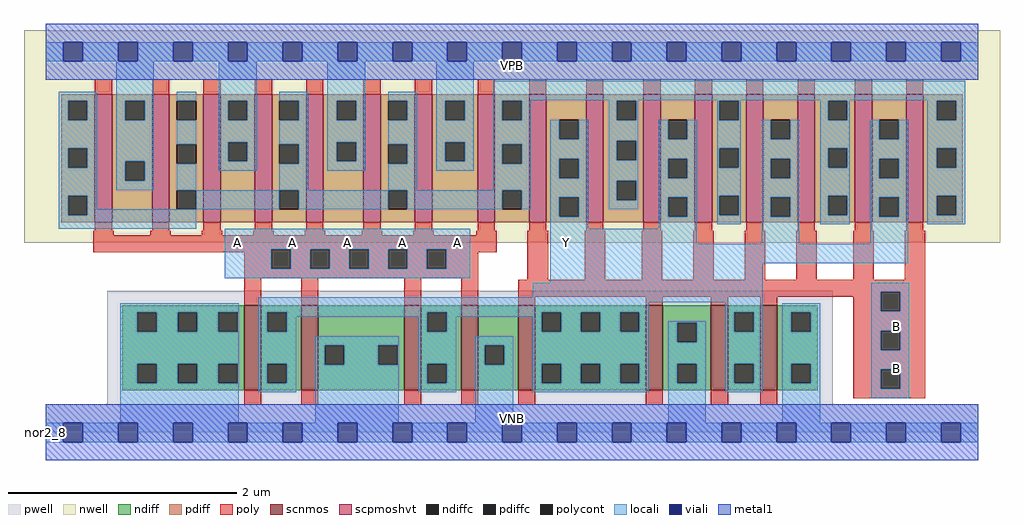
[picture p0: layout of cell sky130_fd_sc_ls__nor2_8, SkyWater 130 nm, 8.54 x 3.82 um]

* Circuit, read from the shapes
.subckt sky130_fd_sc_ls__nor2_8 A B VGND VNB VPB VPWR Y
XM1 Y A VGND VNB sky130_fd_pr__nfet_01v8 w=0.74 l=0.15 m=4
XM2 Y B VGND VNB sky130_fd_pr__nfet_01v8 w=0.74 l=0.15 m=4
XM3 VPWR A n1 VPB sky130_fd_pr__pfet_01v8_hvt w=1.12 l=0.15 m=8
XM4 Y B n1 VPB sky130_fd_pr__pfet_01v8_hvt w=1.12 l=0.15 m=8
.ends

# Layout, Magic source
magic
tech sky130A
magscale 1 2
<< nwell >>
rect -38 332 1670 704
<< pwell >>
rect 108 49 1377 248
rect 0 0 1632 49
<< scnmos >>
rect 347 74 377 222
rect 447 74 477 222
rect 627 74 657 222
rect 727 74 757 222
rect 827 74 857 222
rect 1050 74 1080 222
rect 1164 74 1194 222
rect 1250 74 1280 222
<< scpmoshvt >>
rect 86 368 116 592
rect 186 368 216 592
rect 276 368 306 592
rect 366 368 396 592
rect 456 368 486 592
rect 556 368 586 592
rect 646 368 676 592
rect 756 368 786 592
rect 846 368 876 592
rect 946 368 976 592
rect 1046 368 1076 592
rect 1136 368 1166 592
rect 1226 368 1256 592
rect 1316 368 1346 592
rect 1416 368 1446 592
rect 1506 368 1536 592
<< ndiff >>
rect 134 210 347 222
rect 134 176 160 210
rect 194 176 231 210
rect 265 176 302 210
rect 336 176 347 210
rect 134 120 347 176
rect 134 86 160 120
rect 194 86 231 120
rect 265 86 302 120
rect 336 86 347 120
rect 134 74 347 86
rect 377 210 447 222
rect 377 176 388 210
rect 422 176 447 210
rect 377 120 447 176
rect 377 86 388 120
rect 422 86 447 120
rect 377 74 447 86
rect 477 152 627 222
rect 477 118 488 152
rect 522 118 582 152
rect 616 118 627 152
rect 477 74 627 118
rect 657 210 727 222
rect 657 176 668 210
rect 702 176 727 210
rect 657 120 727 176
rect 657 86 668 120
rect 702 86 727 120
rect 657 74 727 86
rect 757 152 827 222
rect 757 118 768 152
rect 802 118 827 152
rect 757 74 827 118
rect 857 210 1050 222
rect 857 176 868 210
rect 902 176 936 210
rect 970 176 1005 210
rect 1039 176 1050 210
rect 857 120 1050 176
rect 857 86 868 120
rect 902 86 936 120
rect 970 86 1005 120
rect 1039 86 1050 120
rect 857 74 1050 86
rect 1080 192 1164 222
rect 1080 158 1105 192
rect 1139 158 1164 192
rect 1080 120 1164 158
rect 1080 86 1105 120
rect 1139 86 1164 120
rect 1080 74 1164 86
rect 1194 210 1250 222
rect 1194 176 1205 210
rect 1239 176 1250 210
rect 1194 120 1250 176
rect 1194 86 1205 120
rect 1239 86 1250 120
rect 1194 74 1250 86
rect 1280 210 1351 222
rect 1280 176 1305 210
rect 1339 176 1351 210
rect 1280 120 1351 176
rect 1280 86 1305 120
rect 1339 86 1351 120
rect 1280 74 1351 86
<< pdiff >>
rect 27 580 86 592
rect 27 546 39 580
rect 73 546 86 580
rect 27 497 86 546
rect 27 463 39 497
rect 73 463 86 497
rect 27 414 86 463
rect 27 380 39 414
rect 73 380 86 414
rect 27 368 86 380
rect 116 580 186 592
rect 116 546 139 580
rect 173 546 186 580
rect 116 474 186 546
rect 116 440 139 474
rect 173 440 186 474
rect 116 368 186 440
rect 216 580 276 592
rect 216 546 229 580
rect 263 546 276 580
rect 216 504 276 546
rect 216 470 229 504
rect 263 470 276 504
rect 216 424 276 470
rect 216 390 229 424
rect 263 390 276 424
rect 216 368 276 390
rect 306 580 366 592
rect 306 546 319 580
rect 353 546 366 580
rect 306 508 366 546
rect 306 474 319 508
rect 353 474 366 508
rect 306 368 366 474
rect 396 580 456 592
rect 396 546 409 580
rect 443 546 456 580
rect 396 504 456 546
rect 396 470 409 504
rect 443 470 456 504
rect 396 424 456 470
rect 396 390 409 424
rect 443 390 456 424
rect 396 368 456 390
rect 486 580 556 592
rect 486 546 509 580
rect 543 546 556 580
rect 486 508 556 546
rect 486 474 509 508
rect 543 474 556 508
rect 486 368 556 474
rect 586 580 646 592
rect 586 546 599 580
rect 633 546 646 580
rect 586 504 646 546
rect 586 470 599 504
rect 633 470 646 504
rect 586 424 646 470
rect 586 390 599 424
rect 633 390 646 424
rect 586 368 646 390
rect 676 580 756 592
rect 676 546 699 580
rect 733 546 756 580
rect 676 508 756 546
rect 676 474 699 508
rect 733 474 756 508
rect 676 368 756 474
rect 786 580 846 592
rect 786 546 799 580
rect 833 546 846 580
rect 786 504 846 546
rect 786 470 799 504
rect 833 470 846 504
rect 786 424 846 470
rect 786 390 799 424
rect 833 390 846 424
rect 786 368 846 390
rect 876 547 946 592
rect 876 513 899 547
rect 933 513 946 547
rect 876 479 946 513
rect 876 445 899 479
rect 933 445 946 479
rect 876 411 946 445
rect 876 377 899 411
rect 933 377 946 411
rect 876 368 946 377
rect 976 580 1046 592
rect 976 546 999 580
rect 1033 546 1046 580
rect 976 510 1046 546
rect 976 476 999 510
rect 1033 476 1046 510
rect 976 440 1046 476
rect 976 406 999 440
rect 1033 406 1046 440
rect 976 368 1046 406
rect 1076 547 1136 592
rect 1076 513 1089 547
rect 1123 513 1136 547
rect 1076 479 1136 513
rect 1076 445 1089 479
rect 1123 445 1136 479
rect 1076 411 1136 445
rect 1076 377 1089 411
rect 1123 377 1136 411
rect 1076 368 1136 377
rect 1166 580 1226 592
rect 1166 546 1179 580
rect 1213 546 1226 580
rect 1166 497 1226 546
rect 1166 463 1179 497
rect 1213 463 1226 497
rect 1166 414 1226 463
rect 1166 380 1179 414
rect 1213 380 1226 414
rect 1166 368 1226 380
rect 1256 547 1316 592
rect 1256 513 1269 547
rect 1303 513 1316 547
rect 1256 479 1316 513
rect 1256 445 1269 479
rect 1303 445 1316 479
rect 1256 411 1316 445
rect 1256 377 1269 411
rect 1303 377 1316 411
rect 1256 368 1316 377
rect 1346 580 1416 592
rect 1346 546 1369 580
rect 1403 546 1416 580
rect 1346 497 1416 546
rect 1346 463 1369 497
rect 1403 463 1416 497
rect 1346 414 1416 463
rect 1346 380 1369 414
rect 1403 380 1416 414
rect 1346 368 1416 380
rect 1446 547 1506 592
rect 1446 513 1459 547
rect 1493 513 1506 547
rect 1446 479 1506 513
rect 1446 445 1459 479
rect 1493 445 1506 479
rect 1446 411 1506 445
rect 1446 377 1459 411
rect 1493 377 1506 411
rect 1446 368 1506 377
rect 1536 580 1605 592
rect 1536 546 1559 580
rect 1593 546 1605 580
rect 1536 497 1605 546
rect 1536 463 1559 497
rect 1593 463 1605 497
rect 1536 414 1605 463
rect 1536 380 1559 414
rect 1593 380 1605 414
rect 1536 368 1605 380
<< ndiffc >>
rect 160 176 194 210
rect 231 176 265 210
rect 302 176 336 210
rect 160 86 194 120
rect 231 86 265 120
rect 302 86 336 120
rect 388 176 422 210
rect 388 86 422 120
rect 488 118 522 152
rect 582 118 616 152
rect 668 176 702 210
rect 668 86 702 120
rect 768 118 802 152
rect 868 176 902 210
rect 936 176 970 210
rect 1005 176 1039 210
rect 868 86 902 120
rect 936 86 970 120
rect 1005 86 1039 120
rect 1105 158 1139 192
rect 1105 86 1139 120
rect 1205 176 1239 210
rect 1205 86 1239 120
rect 1305 176 1339 210
rect 1305 86 1339 120
<< pdiffc >>
rect 39 546 73 580
rect 39 463 73 497
rect 39 380 73 414
rect 139 546 173 580
rect 139 440 173 474
rect 229 546 263 580
rect 229 470 263 504
rect 229 390 263 424
rect 319 546 353 580
rect 319 474 353 508
rect 409 546 443 580
rect 409 470 443 504
rect 409 390 443 424
rect 509 546 543 580
rect 509 474 543 508
rect 599 546 633 580
rect 599 470 633 504
rect 599 390 633 424
rect 699 546 733 580
rect 699 474 733 508
rect 799 546 833 580
rect 799 470 833 504
rect 799 390 833 424
rect 899 513 933 547
rect 899 445 933 479
rect 899 377 933 411
rect 999 546 1033 580
rect 999 476 1033 510
rect 999 406 1033 440
rect 1089 513 1123 547
rect 1089 445 1123 479
rect 1089 377 1123 411
rect 1179 546 1213 580
rect 1179 463 1213 497
rect 1179 380 1213 414
rect 1269 513 1303 547
rect 1269 445 1303 479
rect 1269 377 1303 411
rect 1369 546 1403 580
rect 1369 463 1403 497
rect 1369 380 1403 414
rect 1459 513 1493 547
rect 1459 445 1493 479
rect 1459 377 1493 411
rect 1559 546 1593 580
rect 1559 463 1593 497
rect 1559 380 1593 414
<< poly >>
rect 86 592 116 618
rect 186 592 216 618
rect 276 592 306 618
rect 366 592 396 618
rect 456 592 486 618
rect 556 592 586 618
rect 646 592 676 618
rect 756 592 786 618
rect 846 592 876 618
rect 946 592 976 618
rect 1046 592 1076 618
rect 1136 592 1166 618
rect 1226 592 1256 618
rect 1316 592 1346 618
rect 1416 592 1446 618
rect 1506 592 1536 618
rect 86 353 116 368
rect 186 353 216 368
rect 276 353 306 368
rect 366 353 396 368
rect 456 353 486 368
rect 556 353 586 368
rect 646 353 676 368
rect 756 353 786 368
rect 846 353 876 368
rect 946 353 976 368
rect 1046 353 1076 368
rect 1136 353 1166 368
rect 1226 353 1256 368
rect 1316 353 1346 368
rect 1416 353 1446 368
rect 1506 353 1536 368
rect 83 345 119 353
rect 183 345 219 353
rect 273 345 309 353
rect 363 345 399 353
rect 453 345 489 353
rect 553 345 589 353
rect 643 345 679 353
rect 753 345 789 353
rect 83 320 789 345
rect 83 315 395 320
rect 347 286 395 315
rect 429 286 463 320
rect 497 286 531 320
rect 565 286 599 320
rect 633 286 667 320
rect 701 315 789 320
rect 701 286 757 315
rect 347 270 757 286
rect 347 222 377 270
rect 447 222 477 270
rect 627 222 657 270
rect 727 222 757 270
rect 843 267 879 353
rect 943 267 979 353
rect 1043 267 1079 353
rect 1133 267 1169 353
rect 1223 267 1259 353
rect 1313 267 1349 353
rect 1413 267 1449 353
rect 1503 267 1539 353
rect 827 246 1539 267
rect 827 237 1461 246
rect 827 222 857 237
rect 1050 222 1080 237
rect 1164 222 1194 237
rect 1250 222 1280 237
rect 1413 212 1461 237
rect 1495 212 1539 246
rect 1413 178 1539 212
rect 1413 144 1461 178
rect 1495 144 1539 178
rect 1413 110 1539 144
rect 1413 76 1461 110
rect 1495 76 1539 110
rect 347 48 377 74
rect 447 48 477 74
rect 627 48 657 74
rect 727 48 757 74
rect 827 48 857 74
rect 1050 48 1080 74
rect 1164 48 1194 74
rect 1250 48 1280 74
rect 1413 60 1539 76
<< polycont >>
rect 395 286 429 320
rect 463 286 497 320
rect 531 286 565 320
rect 599 286 633 320
rect 667 286 701 320
rect 1461 212 1495 246
rect 1461 144 1495 178
rect 1461 76 1495 110
<< locali >>
rect 0 649 31 683
rect 65 649 127 683
rect 161 649 223 683
rect 257 649 319 683
rect 353 649 415 683
rect 449 649 511 683
rect 545 649 607 683
rect 641 649 703 683
rect 737 649 799 683
rect 833 649 895 683
rect 929 649 991 683
rect 1025 649 1087 683
rect 1121 649 1183 683
rect 1217 649 1279 683
rect 1313 649 1375 683
rect 1409 649 1471 683
rect 1505 649 1567 683
rect 1601 649 1632 683
rect 23 580 89 596
rect 23 546 39 580
rect 73 546 89 580
rect 23 497 89 546
rect 23 463 39 497
rect 73 463 89 497
rect 23 414 89 463
rect 123 580 189 649
rect 123 546 139 580
rect 173 546 189 580
rect 123 474 189 546
rect 123 440 139 474
rect 173 440 189 474
rect 123 424 189 440
rect 229 580 263 596
rect 229 504 263 546
rect 229 424 263 470
rect 303 580 369 649
rect 303 546 319 580
rect 353 546 369 580
rect 303 508 369 546
rect 303 474 319 508
rect 353 474 369 508
rect 303 458 369 474
rect 409 580 459 596
rect 443 546 459 580
rect 409 504 459 546
rect 443 470 459 504
rect 409 424 459 470
rect 493 580 559 649
rect 493 546 509 580
rect 543 546 559 580
rect 493 508 559 546
rect 493 474 509 508
rect 543 474 559 508
rect 493 458 559 474
rect 599 580 649 596
rect 633 546 649 580
rect 599 504 649 546
rect 633 470 649 504
rect 599 424 649 470
rect 683 580 749 649
rect 683 546 699 580
rect 733 546 749 580
rect 683 508 749 546
rect 683 474 699 508
rect 733 474 749 508
rect 683 458 749 474
rect 783 581 1609 615
rect 783 580 849 581
rect 783 546 799 580
rect 833 546 849 580
rect 985 580 1037 581
rect 783 504 849 546
rect 783 470 799 504
rect 833 470 849 504
rect 783 424 849 470
rect 23 380 39 414
rect 73 390 89 414
rect 263 390 409 424
rect 443 390 599 424
rect 633 390 799 424
rect 833 390 849 424
rect 883 513 899 547
rect 933 513 949 547
rect 883 479 949 513
rect 883 445 899 479
rect 933 445 949 479
rect 883 411 949 445
rect 73 380 263 390
rect 23 356 263 380
rect 883 377 899 411
rect 933 377 949 411
rect 985 546 999 580
rect 1033 546 1037 580
rect 1175 580 1216 581
rect 985 510 1037 546
rect 985 476 999 510
rect 1033 476 1037 510
rect 985 440 1037 476
rect 985 406 999 440
rect 1033 406 1037 440
rect 985 390 1037 406
rect 1073 513 1089 547
rect 1123 513 1139 547
rect 1073 479 1139 513
rect 1073 445 1089 479
rect 1123 445 1139 479
rect 1073 411 1139 445
rect 883 356 949 377
rect 1073 377 1089 411
rect 1123 377 1139 411
rect 1073 356 1139 377
rect 1175 546 1179 580
rect 1213 546 1216 580
rect 1355 580 1407 581
rect 1175 497 1216 546
rect 1175 463 1179 497
rect 1213 463 1216 497
rect 1175 414 1216 463
rect 1175 380 1179 414
rect 1213 380 1216 414
rect 1175 364 1216 380
rect 1253 513 1269 547
rect 1303 513 1319 547
rect 1253 479 1319 513
rect 1253 445 1269 479
rect 1303 445 1319 479
rect 1253 411 1319 445
rect 1253 377 1269 411
rect 1303 377 1319 411
rect 313 320 743 356
rect 313 286 395 320
rect 429 286 463 320
rect 497 286 531 320
rect 565 286 599 320
rect 633 286 667 320
rect 701 286 743 320
rect 313 270 743 286
rect 883 330 1139 356
rect 1253 330 1319 377
rect 1355 546 1369 580
rect 1403 546 1407 580
rect 1543 580 1609 581
rect 1355 497 1407 546
rect 1355 463 1369 497
rect 1403 463 1407 497
rect 1355 414 1407 463
rect 1355 380 1369 414
rect 1403 380 1407 414
rect 1355 364 1407 380
rect 1443 513 1459 547
rect 1493 513 1509 547
rect 1443 479 1509 513
rect 1443 445 1459 479
rect 1493 445 1509 479
rect 1443 411 1509 445
rect 1443 377 1459 411
rect 1493 377 1509 411
rect 1443 330 1509 377
rect 1543 546 1559 580
rect 1593 546 1609 580
rect 1543 497 1609 546
rect 1543 463 1559 497
rect 1593 463 1609 497
rect 1543 414 1609 463
rect 1543 380 1559 414
rect 1593 380 1609 414
rect 1543 364 1609 380
rect 883 296 1509 330
rect 883 262 1255 296
rect 852 236 1255 262
rect 372 228 1255 236
rect 130 210 338 226
rect 130 176 160 210
rect 194 176 231 210
rect 265 176 302 210
rect 336 176 338 210
rect 130 120 338 176
rect 130 86 160 120
rect 194 86 231 120
rect 265 86 302 120
rect 336 86 338 120
rect 130 17 338 86
rect 372 210 1055 228
rect 372 176 388 210
rect 422 202 668 210
rect 422 176 438 202
rect 372 120 438 176
rect 652 176 668 202
rect 702 202 868 210
rect 702 176 718 202
rect 372 86 388 120
rect 422 86 438 120
rect 372 70 438 86
rect 472 152 618 168
rect 472 118 488 152
rect 522 118 582 152
rect 616 118 618 152
rect 472 17 618 118
rect 652 120 718 176
rect 852 176 868 202
rect 902 176 936 210
rect 970 176 1005 210
rect 1039 176 1055 210
rect 1189 210 1255 228
rect 1445 246 1511 262
rect 652 86 668 120
rect 702 86 718 120
rect 652 70 718 86
rect 752 152 818 168
rect 752 118 768 152
rect 802 118 818 152
rect 752 17 818 118
rect 852 120 1055 176
rect 852 86 868 120
rect 902 86 936 120
rect 970 86 1005 120
rect 1039 86 1055 120
rect 852 70 1055 86
rect 1089 192 1155 194
rect 1089 158 1105 192
rect 1139 158 1155 192
rect 1089 120 1155 158
rect 1089 86 1105 120
rect 1139 86 1155 120
rect 1089 17 1155 86
rect 1189 176 1205 210
rect 1239 176 1255 210
rect 1189 120 1255 176
rect 1189 86 1205 120
rect 1239 86 1255 120
rect 1189 70 1255 86
rect 1289 210 1355 226
rect 1289 176 1305 210
rect 1339 176 1355 210
rect 1289 120 1355 176
rect 1289 86 1305 120
rect 1339 86 1355 120
rect 1289 17 1355 86
rect 1445 212 1461 246
rect 1495 212 1511 246
rect 1445 178 1511 212
rect 1445 144 1461 178
rect 1495 144 1511 178
rect 1445 110 1511 144
rect 1445 76 1461 110
rect 1495 76 1511 110
rect 1445 60 1511 76
rect 0 -17 31 17
rect 65 -17 127 17
rect 161 -17 223 17
rect 257 -17 319 17
rect 353 -17 415 17
rect 449 -17 511 17
rect 545 -17 607 17
rect 641 -17 703 17
rect 737 -17 799 17
rect 833 -17 895 17
rect 929 -17 991 17
rect 1025 -17 1087 17
rect 1121 -17 1183 17
rect 1217 -17 1279 17
rect 1313 -17 1375 17
rect 1409 -17 1471 17
rect 1505 -17 1567 17
rect 1601 -17 1632 17
<< viali >>
rect 31 649 65 683
rect 127 649 161 683
rect 223 649 257 683
rect 319 649 353 683
rect 415 649 449 683
rect 511 649 545 683
rect 607 649 641 683
rect 703 649 737 683
rect 799 649 833 683
rect 895 649 929 683
rect 991 649 1025 683
rect 1087 649 1121 683
rect 1183 649 1217 683
rect 1279 649 1313 683
rect 1375 649 1409 683
rect 1471 649 1505 683
rect 1567 649 1601 683
rect 31 -17 65 17
rect 127 -17 161 17
rect 223 -17 257 17
rect 319 -17 353 17
rect 415 -17 449 17
rect 511 -17 545 17
rect 607 -17 641 17
rect 703 -17 737 17
rect 799 -17 833 17
rect 895 -17 929 17
rect 991 -17 1025 17
rect 1087 -17 1121 17
rect 1183 -17 1217 17
rect 1279 -17 1313 17
rect 1375 -17 1409 17
rect 1471 -17 1505 17
rect 1567 -17 1601 17
<< metal1 >>
rect 0 683 1632 715
rect 0 649 31 683
rect 65 649 127 683
rect 161 649 223 683
rect 257 649 319 683
rect 353 649 415 683
rect 449 649 511 683
rect 545 649 607 683
rect 641 649 703 683
rect 737 649 799 683
rect 833 649 895 683
rect 929 649 991 683
rect 1025 649 1087 683
rect 1121 649 1183 683
rect 1217 649 1279 683
rect 1313 649 1375 683
rect 1409 649 1471 683
rect 1505 649 1567 683
rect 1601 649 1632 683
rect 0 617 1632 649
rect 0 17 1632 49
rect 0 -17 31 17
rect 65 -17 127 17
rect 161 -17 223 17
rect 257 -17 319 17
rect 353 -17 415 17
rect 449 -17 511 17
rect 545 -17 607 17
rect 641 -17 703 17
rect 737 -17 799 17
rect 833 -17 895 17
rect 929 -17 991 17
rect 1025 -17 1087 17
rect 1121 -17 1183 17
rect 1217 -17 1279 17
rect 1313 -17 1375 17
rect 1409 -17 1471 17
rect 1505 -17 1567 17
rect 1601 -17 1632 17
rect 0 -49 1632 -17
<< labels >>
rlabel comment s 0 0 0 0 4 nor2_8
flabel pwell s 0 0 1632 49 0 FreeSans 200 0 0 0 VNB
port 4 nsew ground bidirectional
flabel nwell s 0 617 1632 666 0 FreeSans 200 0 0 0 VPB
port 5 nsew power bidirectional
flabel metal1 s 0 617 1632 666 0 FreeSans 340 0 0 0 VPWR
port 6 nsew power bidirectional abutment
flabel metal1 s 0 0 1632 49 0 FreeSans 340 0 0 0 VGND
port 3 nsew ground bidirectional abutment
flabel locali s 319 316 353 350 0 FreeSans 340 0 0 0 A
port 1 nsew signal input
flabel locali s 415 316 449 350 0 FreeSans 340 0 0 0 A
port 1 nsew signal input
flabel locali s 511 316 545 350 0 FreeSans 340 0 0 0 A
port 1 nsew signal input
flabel locali s 607 316 641 350 0 FreeSans 340 0 0 0 A
port 1 nsew signal input
flabel locali s 703 316 737 350 0 FreeSans 340 0 0 0 A
port 1 nsew signal input
flabel locali s 1471 94 1505 128 0 FreeSans 340 0 0 0 B
port 2 nsew signal input
flabel locali s 1471 168 1505 202 0 FreeSans 340 0 0 0 B
port 2 nsew signal input
flabel locali s 895 316 929 350 0 FreeSans 340 0 0 0 Y
port 7 nsew signal output
<< properties >>
string LEFsite unit
string LEFclass CORE
string FIXED_BBOX 0 0 1632 666
string GDS_FILE $PDKPATH/libs.ref/sky130_fd_sc_ls/gds/sky130_fd_sc_ls.gds
string LEFsymmetry X Y
string GDS_END 3180272
string GDS_START 3168068
<< end >>
